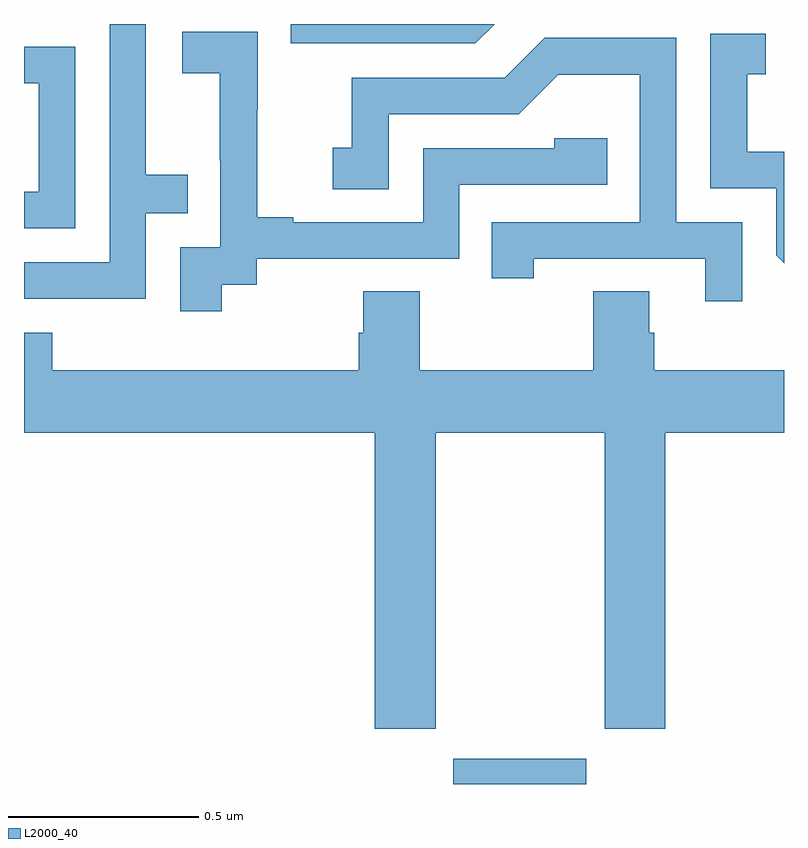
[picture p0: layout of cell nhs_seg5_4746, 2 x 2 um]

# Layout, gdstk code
import gdstk
lib = gdstk.Library(unit=1e-6, precision=1e-09)
def R(c, l, rs):  # rectangles x0, y0, x1, y1
    for r in rs: c.add(gdstk.rectangle(r[:2], r[2:], *l))
def P(c, l, *ps):  # polygons
    for p in ps: c.add(gdstk.Polygon(p, *l))
L2000_40 = (2000, 40)

nhs_seg5_4746 = lib.new_cell('nhs_seg5_4746')
R(nhs_seg5_4746, L2000_40, [(175.13,891.799,175.48,891.865)])
P(nhs_seg5_4746, L2000_40, [(174.321,893.301),(174.431,893.301),(174.431,893.402),(174.321,893.402),(174.321,893.799),(174.225,893.799),(174.225,893.172),(174,893.172),(174,893.076),(174.321,893.076)],
  [(175.239,893.799),(174.702,893.799),(174.702,893.748),(175.188,893.748)],
  [(174.52,893.113),(174.612,893.113),(174.612,893.181),(175.146,893.181),(175.146,893.376),(175.535,893.376),(175.535,893.499),(175.395,893.499),(175.395,893.472),(175.05,893.472),(175.05,893.277),(174.709,893.277),(174.709,893.29),(174.614,893.29),(174.614,893.573),(174.615,893.573),(174.615,893.779),(174.417,893.779),(174.417,893.669),(174.515,893.669),(174.515,893.441),(174.516,893.441),(174.516,893.211),(174.411,893.211),(174.411,893.043),(174.52,893.043)],
  [(176,893.463),(175.903,893.463),(175.903,893.667),(175.952,893.667),(175.952,893.773),(175.806,893.773),(175.806,893.367),(175.98,893.367),(175.98,893.19),(176,893.17)],
  [(175.89,893.277),(175.716,893.277),(175.716,893.763),(175.37,893.763),(175.265,893.658),(174.862,893.658),(174.862,893.473),(174.813,893.473),(174.813,893.364),(174.96,893.364),(174.96,893.562),(175.302,893.562),(175.406,893.666),(175.62,893.666),(175.62,893.277),(175.231,893.277),(175.231,893.13),(175.342,893.13),(175.342,893.181),(175.793,893.181),(175.793,893.07),(175.89,893.07)],
  [(174.135,893.739),(174,893.739),(174,893.643),(174.039,893.643),(174.039,893.358),(174,893.358),(174,893.262),(174.135,893.262)],
  [(175.083,892.724),(175.528,892.724),(175.528,891.945),(175.688,891.945),(175.688,892.724),(176,892.724),(176,892.888),(175.658,892.888),(175.658,892.986),(175.645,892.986),(175.645,893.096),(175.498,893.096),(175.498,892.888),(175.041,892.888),(175.041,893.096),(174.893,893.096),(174.893,892.986),(174.881,892.986),(174.881,892.888),(174.074,892.888),(174.074,892.987),(174,892.987),(174,892.724),(174.923,892.724),(174.923,891.945),(175.083,891.945)])

lib.write_gds('nhs_seg5_4746.gds')
